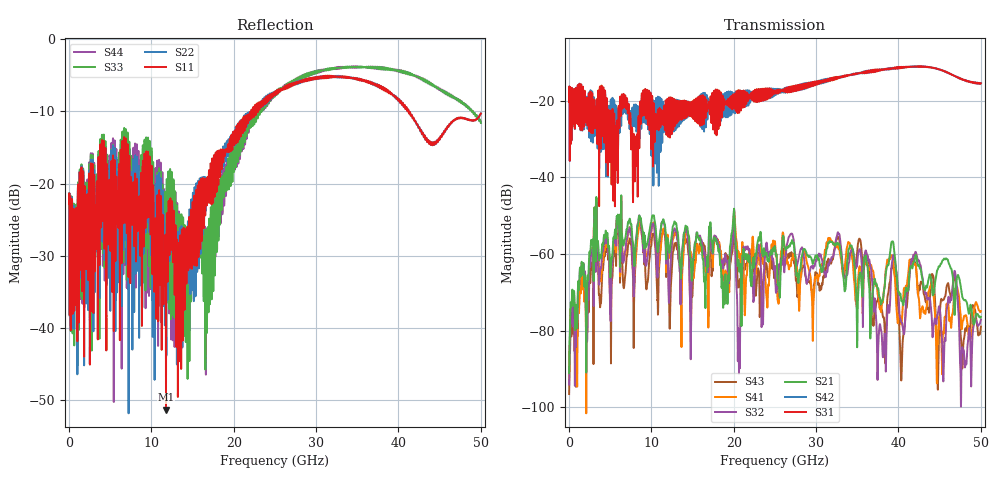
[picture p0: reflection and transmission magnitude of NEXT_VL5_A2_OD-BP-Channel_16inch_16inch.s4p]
#	Hz	S	RI	R	50
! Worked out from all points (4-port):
!   2500 points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, 20 MHz to 50 GHz, reference 50 ohm
!   strongest paths, dB at 20 MHz, 12.52 GHz, 25.02 GHz, 37.52 GHz, 50 GHz:
!     S31: -20.3, -21.3, -18.1, -12.0, -15.5
!     S42: -20.3, -26.8, -17.0, -12.0, -15.5
!     S21: -91.0, -54.3, -58.3, -69.0, -76.4
!     S32: -94.0, -56.6, -64.6, -86.1, -77.1
!     S41: -92.5, -57.9, -57.0, -70.8, -74.9
!     S43: -96.5, -62.8, -63.5, -71.4, -78.9
!   lowest |S11| = -51.3 dB at 11.78 GHz (marker M1), VSWR 1.01, Z = 49.7 - j0.0585 ohm
!   |S11| at or under -10 dB: start of sweep to 22.14 GHz; 22.2 GHz to 22.33 GHz (127.1 MHz wide, 0.571 % of centre); 41.23 GHz to end of sweep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
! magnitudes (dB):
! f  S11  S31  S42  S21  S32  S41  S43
! 20 MHz  -22.8  -20.3  -20.3  -91.0  -94.0  -92.5  -96.5
! 3.26 GHz  -23.0  -25.3  -24.6  -49.4  -49.0  -48.5  -48.0
! 11.78 GHz  -51.3  -21.4  -21.3  -58.1  -62.5  -58.1  -63.7
! 19.96 GHz  -13.4  -19.0  -20.7  -50.4  -53.3  -51.6  -55.1
! 20.6 GHz  -12.1  -18.4  -19.3  -61.9  -82.2  -59.8  -67.2
! 26.56 GHz  -6.6  -17.7  -16.7  -58.4  -56.7  -62.0  -60.2
! 50 GHz  -10.3  -15.5  -15.5  -76.4  -77.1  -74.9  -78.9
